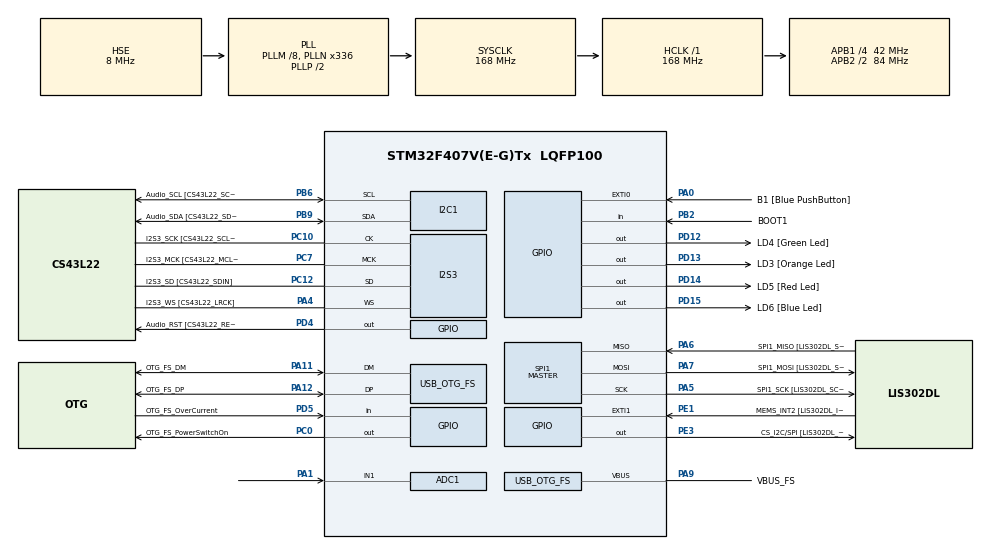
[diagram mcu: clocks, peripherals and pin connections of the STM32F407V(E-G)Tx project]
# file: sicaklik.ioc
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ADC1.Channel-0\#ChannelRegularConversion=ADC_CHANNEL_1
ADC1.ContinuousConvMode=ENABLE
ADC1.NbrOfConversionFlag=1
ADC1.Rank-0\#ChannelRegularConversion=1
ADC1.SamplingTime-0\#ChannelRegularConversion=ADC_SAMPLETIME_3CYCLES
ADC1.master=1
I2S3.AudioFreq-Half_Duplex_Master=I2S_AUDIOFREQ_96K
I2S3.ErrorAudioFreq=-2.34 %
I2S3.ErrorAudioFreq-Half_Duplex_Master=0.8 %
I2S3.FullDuplexMode=I2S_FULLDUPLEXMODE_DISABLE
I2S3.Instance=SPI$Index
I2S3.RealAudioFreq=93.75 KHz
I2S3.RealAudioFreq-Half_Duplex_Master=96.774 KHz
I2S3.VirtualMode=I2S_MODE_MASTER
Mcu.Family=STM32F4
Mcu.Name=STM32F407V(E-G)Tx
Mcu.Package=LQFP100
NVIC.ADC_IRQn=true\:0\:0\:false\:false\:true\:true\:true
NVIC.OTG_FS_IRQn=true\:0\:0\:false\:false\:true\:true\:true
NVIC.PriorityGroup=NVIC_PRIORITYGROUP_0
PA0-WKUP.GPIO_Label=B1 [Blue PushButton]
PA0-WKUP.GPIO_ModeDefaultEXTI=GPIO_MODE_EVT_RISING
PA0-WKUP.GPIO_PuPd=GPIO_NOPULL
PA0-WKUP.Signal=GPXTI0
PA1.Signal=ADCx_IN1
PA10.GPIO_Label=OTG_FS_ID
PA10.GPIO_Mode=GPIO_MODE_AF_PP
PA10.GPIO_PuPd=GPIO_NOPULL
PA10.GPIO_Speed=GPIO_SPEED_FREQ_LOW
PA10.Signal=USB_OTG_FS_ID
PA11.GPIO_Label=OTG_FS_DM
PA11.GPIO_Mode=GPIO_MODE_AF_PP
PA11.GPIO_PuPd=GPIO_NOPULL
PA11.GPIO_Speed=GPIO_SPEED_FREQ_LOW
PA11.Mode=Host_Only
PA11.Signal=USB_OTG_FS_DM
PA12.GPIO_Label=OTG_FS_DP
PA12.GPIO_Mode=GPIO_MODE_AF_PP
PA12.GPIO_PuPd=GPIO_NOPULL
PA12.GPIO_Speed=GPIO_SPEED_FREQ_LOW
PA12.Mode=Host_Only
PA12.Signal=USB_OTG_FS_DP
PA13.GPIO_Label=SWDIO
PA13.Mode=Serial_Wire
PA13.Signal=SYS_JTMS-SWDIO
PA14.GPIO_Label=SWCLK
PA14.Mode=Serial_Wire
PA14.Signal=SYS_JTCK-SWCLK
PA4.GPIO_Label=I2S3_WS [CS43L22_LRCK]
PA4.GPIO_Mode=GPIO_MODE_AF_PP
PA4.GPIO_PuPd=GPIO_NOPULL
PA4.GPIO_Speed=GPIO_SPEED_FREQ_LOW
PA4.Mode=Half_Duplex_Master
PA4.Signal=I2S3_WS
PA5.GPIO_Label=SPI1_SCK [LIS302DL_SCL/SPC]
PA5.GPIO_Mode=GPIO_MODE_AF_PP
PA5.GPIO_PuPd=GPIO_NOPULL
PA5.GPIO_Speed=GPIO_SPEED_FREQ_LOW
PA5.Mode=Full_Duplex_Master
PA5.Signal=SPI1_SCK
PA6.GPIO_Label=SPI1_MISO [LIS302DL_SDO]
PA6.GPIO_Mode=GPIO_MODE_AF_PP
PA6.GPIO_PuPd=GPIO_NOPULL
PA6.GPIO_Speed=GPIO_SPEED_FREQ_LOW
PA6.Mode=Full_Duplex_Master
PA6.Signal=SPI1_MISO
PA7.GPIO_Label=SPI1_MOSI [LIS302DL_SDA/SDI/SDO]
PA7.GPIO_Mode=GPIO_MODE_AF_PP
PA7.GPIO_PuPd=GPIO_NOPULL
PA7.GPIO_Speed=GPIO_SPEED_FREQ_LOW
PA7.Mode=Full_Duplex_Master
PA7.Signal=SPI1_MOSI
PA9.GPIO_Label=VBUS_FS
PA9.GPIO_Mode=GPIO_MODE_INPUT
PA9.GPIO_PuPd=GPIO_NOPULL
PA9.Mode=Activate_VBUS
PA9.Signal=USB_OTG_FS_VBUS
PB10.GPIO_Label=CLK_IN [MP45DT02_CLK]
PB10.GPIO_Mode=GPIO_MODE_AF_PP
PB10.GPIO_PuPd=GPIO_NOPULL
PB10.GPIO_Speed=GPIO_SPEED_FREQ_LOW
PB10.Signal=I2S2_CK
PB2.GPIO_Label=BOOT1
PB2.GPIO_Mode=GPIO_MODE_INPUT
PB2.GPIO_PuPd=GPIO_NOPULL
PB2.Signal=GPIO_Input
PB3.GPIO_Label=SWO
PB3.Signal=SYS_JTDO-SWO
PB6.GPIO_Label=Audio_SCL [CS43L22_SCL]
PB6.GPIO_Mode=GPIO_MODE_AF_OD
PB6.GPIO_PuPd=GPIO_NOPULL
PB6.GPIO_Speed=GPIO_SPEED_FREQ_LOW
PB6.Mode=I2C
PB6.Signal=I2C1_SCL
PB9.GPIO_Label=Audio_SDA [CS43L22_SDA]
PB9.GPIO_Mode=GPIO_MODE_AF_OD
PB9.GPIO_PuPd=GPIO_NOPULL
PB9.GPIO_Speed=GPIO_SPEED_FREQ_LOW
PB9.Mode=I2C
PB9.Signal=I2C1_SDA
PC0.GPIO_Label=OTG_FS_PowerSwitchOn
PC0.GPIO_PuPd=GPIO_NOPULL
PC0.GPIO_Speed=GPIO_SPEED_FREQ_LOW
PC0.PinState=GPIO_PIN_SET
PC0.Signal=GPIO_Output
PC10.GPIO_Label=I2S3_SCK [CS43L22_SCLK]
PC10.GPIO_Mode=GPIO_MODE_AF_PP
PC10.GPIO_PuPd=GPIO_NOPULL
PC10.GPIO_Speed=GPIO_SPEED_FREQ_LOW
PC10.Mode=Half_Duplex_Master
PC10.Signal=I2S3_CK
PC12.GPIO_Label=I2S3_SD [CS43L22_SDIN]
PC12.GPIO_Mode=GPIO_MODE_AF_PP
PC12.GPIO_PuPd=GPIO_NOPULL
PC12.GPIO_Speed=GPIO_SPEED_FREQ_LOW
PC12.Mode=Half_Duplex_Master
PC12.Signal=I2S3_SD
PC14-OSC32_IN.GPIO_Label=PC14-OSC32_IN
PC14-OSC32_IN.Mode=LSE-External-Oscillator
PC14-OSC32_IN.Signal=RCC_OSC32_IN
PC15-OSC32_OUT.GPIO_Label=PC15-OSC32_OUT
PC15-OSC32_OUT.Mode=LSE-External-Oscillator
PC15-OSC32_OUT.Signal=RCC_OSC32_OUT
PC3.GPIO_Label=PDM_OUT [MP45DT02_DOUT]
PC3.GPIO_Mode=GPIO_MODE_AF_PP
PC3.GPIO_PuPd=GPIO_NOPULL
PC3.GPIO_Speed=GPIO_SPEED_FREQ_LOW
PC3.Signal=I2S2_SD
PC7.GPIO_Label=I2S3_MCK [CS43L22_MCLK]
PC7.GPIO_Mode=GPIO_MODE_AF_PP
PC7.GPIO_PuPd=GPIO_NOPULL
PC7.GPIO_Speed=GPIO_SPEED_FREQ_LOW
PC7.Mode=Master_Clock_Activated
PC7.Signal=I2S3_MCK
PD12.GPIO_Label=LD4 [Green Led]
PD12.GPIO_PuPd=GPIO_NOPULL
PD12.GPIO_Speed=GPIO_SPEED_FREQ_LOW
PD12.Signal=GPIO_Output
PD13.GPIO_Label=LD3 [Orange Led]
PD13.GPIO_PuPd=GPIO_NOPULL
PD13.GPIO_Speed=GPIO_SPEED_FREQ_LOW
PD13.Signal=GPIO_Output
PD14.GPIO_Label=LD5 [Red Led]
PD14.GPIO_PuPd=GPIO_NOPULL
PD14.GPIO_Speed=GPIO_SPEED_FREQ_LOW
PD14.Signal=GPIO_Output
PD15.GPIO_Label=LD6 [Blue Led]
PD15.GPIO_PuPd=GPIO_NOPULL
PD15.GPIO_Speed=GPIO_SPEED_FREQ_LOW
PD15.Signal=GPIO_Output
PD4.GPIO_Label=Audio_RST [CS43L22_RESET]
PD4.GPIO_PuPd=GPIO_NOPULL
PD4.GPIO_Speed=GPIO_SPEED_FREQ_LOW
PD4.Signal=GPIO_Output
PD5.GPIO_Label=OTG_FS_OverCurrent
PD5.GPIO_Mode=GPIO_MODE_INPUT
PD5.GPIO_PuPd=GPIO_NOPULL
PD5.Signal=GPIO_Input
PE1.GPIO_Label=MEMS_INT2 [LIS302DL_INT2]
PE1.GPIO_ModeDefaultEXTI=GPIO_MODE_EVT_RISING
PE1.GPIO_PuPd=GPIO_NOPULL
PE1.Signal=GPXTI1
PE3.GPIO_Label=CS_I2C/SPI [LIS302DL_CS_I2C/SPI]
PE3.GPIO_PuPd=GPIO_NOPULL
PE3.GPIO_Speed=GPIO_SPEED_FREQ_LOW
PE3.Signal=GPIO_Output
PH0-OSC_IN.GPIO_Label=PH0-OSC_IN
PH0-OSC_IN.Mode=HSE-External-Oscillator
PH0-OSC_IN.Signal=RCC_OSC_IN
PH1-OSC_OUT.GPIO_Label=PH1-OSC_OUT
PH1-OSC_OUT.Mode=HSE-External-Oscillator
PH1-OSC_OUT.Signal=RCC_OSC_OUT
ProjectManager.HeapSize=0x200
ProjectManager.StackSize=0x400
ProjectManager.TargetToolchain=MDK-ARM V5
RCC.48MHZClocksFreq_Value=48000000
RCC.AHBFreq_Value=168000000
RCC.APB1CLKDivider=RCC_HCLK_DIV4
RCC.APB1Freq_Value=42000000
RCC.APB1TimFreq_Value=84000000
RCC.APB2CLKDivider=RCC_HCLK_DIV2
RCC.APB2Freq_Value=84000000
RCC.APB2TimFreq_Value=168000000
RCC.CortexFreq_Value=168000000
RCC.HCLKFreq_Value=168000000
RCC.HSE_VALUE=8000000
RCC.HSI_VALUE=16000000
RCC.PLLM=8
RCC.PLLN=336
RCC.PLLQ=7
RCC.SYSCLKFreq_VALUE=168000000
RCC.SYSCLKSource=RCC_SYSCLKSOURCE_PLLCLK
RCC.VCOOutputFreq_Value=336000000
SH.ADCx_IN1.0=ADC1_IN1,IN1
SPI1.BaudRatePrescaler-Full_Duplex_Master=SPI_BAUDRATEPRESCALER_2
SPI1.CalculateBaudRate-Full_Duplex_Master=42.0 MBits/s
SPI1.Direction=SPI_DIRECTION_2LINES
SPI1.Mode=SPI_MODE_MASTER
SPI1.Mode-Full_Duplex_Master=SPI_MODE_MASTER
SPI1.VirtualType=VM_MASTER
USB_HOST.BSP.number=1
USB_HOST.USBH_HandleTypeDef-CDC_FS=hUsbHostFS
USB_HOST.VirtualModeFS=Cdc
USB_HOST0.BSP.STBoard=false
USB_HOST0.BSP.api=Unknown
USB_HOST0.BSP.i2caddr=0
USB_HOST0.BSP.i2creg=0
USB_HOST0.BSP.instance=PC0
USB_HOST0.BSP.ip=GPIO
USB_HOST0.BSP.mode=Output
USB_HOST0.BSP.name=Drive_VBUS_FS
USB_HOST0.BSP.solution=PC0
USB_OTG_FS.VirtualMode=Host_Only
USB_OTG_FS.phy_itface=HCD_PHY_EMBEDDED
VP_USB_HOST_VS_USB_HOST_CDC_FS.Mode=CDC_FS
board=STM32F4DISCOVERY

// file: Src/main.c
/* USER CODE BEGIN Header */
/**
  ******************************************************************************
  * @file           : main.c
  * @brief          : Main program body
  ******************************************************************************
  * @attention
  *
  * <h2><center>&copy; Copyright (c) 2019 STMicroelectronics.
  * All rights reserved.</center></h2>
  *
  * This software component is licensed by ST under Ultimate Liberty license
  * SLA0044, the "License"; You may not use this file except in compliance with
  * the License. You may obtain a copy of the License at:
  *                             www.st.com/SLA0044
  *
  ******************************************************************************
  */
/* USER CODE END Header */

#include "main.h"
#include "usb_host.h"
#include "math.h"

ADC_HandleTypeDef hadc1;

I2C_HandleTypeDef hi2c1;

I2S_HandleTypeDef hi2s3;

SPI_HandleTypeDef hspi1;

/* USER CODE BEGIN PV */
 int ADCValue;
double temp;
/* USER CODE END PV */

void SystemClock_Config(void);
static void MX_GPIO_Init(void);
static void MX_ADC1_Init(void);
static void MX_I2C1_Init(void);
static void MX_I2S3_Init(void);
static void MX_SPI1_Init(void);
void MX_USB_HOST_Process(void);

/* USER CODE BEGIN PFP */
double Termistor(int analogValue){
   double temperature;
   temperature = log(((40950000 / analogValue) - 10000));
	 temperature = 1/ (0.001129148 + (0.000234125 +(0.0000000876741 * temperature * temperature)) * temperature);
	 temperature = temperature - 273.15;
	 return temperature;
}
/* USER CODE END PFP */

int main(void)
{

  /* MCU Configuration--------------------------------------------------------*/

  /* Reset of all peripherals, Initializes the Flash interface and the Systick. */
  HAL_Init();

  /* Configure the system clock */
  SystemClock_Config();

  /* Initialize all configured peripherals */
  MX_GPIO_Init();
  MX_ADC1_Init();
  MX_I2C1_Init();
  MX_I2S3_Init();
  MX_SPI1_Init();
  MX_USB_HOST_Init();
  /* USER CODE BEGIN 2 */
  HAL_ADC_Start(&hadc1);
  /* USER CODE END 2 */

  /* Infinite loop */
  /* USER CODE BEGIN WHILE */
  while (1)
  {
		ADCValue = HAL_ADC_GetValue(&hadc1);
		temp = (double)Termistor(ADCValue);
		HAL_Delay(500);
		if(temp>=27)
    {
			HAL_GPIO_WritePin(GPIOD,GPIO_PIN_15,GPIO_PIN_SET);
    }
		else if(temp<27)
		{
			HAL_GPIO_WritePin(GPIOD,GPIO_PIN_15,GPIO_PIN_RESET);
		}
    /* USER CODE END WHILE */
    MX_USB_HOST_Process();

  }
void SystemClock_Config(void)
{
  RCC_OscInitTypeDef RCC_OscInitStruct = {0};
  RCC_ClkInitTypeDef RCC_ClkInitStruct = {0};
  RCC_PeriphCLKInitTypeDef PeriphClkInitStruct = {0};

  /** Configure the main internal regulator output voltage
  */
  __HAL_RCC_PWR_CLK_ENABLE();
  __HAL_PWR_VOLTAGESCALING_CONFIG(PWR_REGULATOR_VOLTAGE_SCALE1);
  /** Initializes the CPU, AHB and APB busses clocks
  */
  RCC_OscInitStruct.OscillatorType = RCC_OSCILLATORTYPE_HSE;
  RCC_OscInitStruct.HSEState = RCC_HSE_ON;
  RCC_OscInitStruct.PLL.PLLState = RCC_PLL_ON;
  RCC_OscInitStruct.PLL.PLLSource = RCC_PLLSOURCE_HSE;
  RCC_OscInitStruct.PLL.PLLM = 8;
  RCC_OscInitStruct.PLL.PLLN = 336;
  RCC_OscInitStruct.PLL.PLLP = RCC_PLLP_DIV2;
  RCC_OscInitStruct.PLL.PLLQ = 7;
  if (HAL_RCC_OscConfig(&RCC_OscInitStruct) != HAL_OK)
  {
    Error_Handler();
  }
  /** Initializes the CPU, AHB and APB busses clocks
  */
  RCC_ClkInitStruct.ClockType = RCC_CLOCKTYPE_HCLK|RCC_CLOCKTYPE_SYSCLK
                              |RCC_CLOCKTYPE_PCLK1|RCC_CLOCKTYPE_PCLK2;
  RCC_ClkInitStruct.SYSCLKSource = RCC_SYSCLKSOURCE_PLLCLK;
  RCC_ClkInitStruct.AHBCLKDivider = RCC_SYSCLK_DIV1;
  RCC_ClkInitStruct.APB1CLKDivider = RCC_HCLK_DIV4;
  RCC_ClkInitStruct.APB2CLKDivider = RCC_HCLK_DIV2;

  if (HAL_RCC_ClockConfig(&RCC_ClkInitStruct, FLASH_LATENCY_5) != HAL_OK)
  {
    Error_Handler();
  }
  PeriphClkInitStruct.PeriphClockSelection = RCC_PERIPHCLK_I2S;
  PeriphClkInitStruct.PLLI2S.PLLI2SN = 192;
  PeriphClkInitStruct.PLLI2S.PLLI2SR = 2;
  if (HAL_RCCEx_PeriphCLKConfig(&PeriphClkInitStruct) != HAL_OK)
  {
    Error_Handler();
  }
}
static void MX_ADC1_Init(void)
{

__HAL_RCC_ADC1_CLK_ENABLE();
  ADC_ChannelConfTypeDef sConfig = {0};

  /** Configure the global features of the ADC (Clock, Resolution, Data Alignment and number of conversion)
  */
  hadc1.Instance = ADC1;
  hadc1.Init.ClockPrescaler = ADC_CLOCK_SYNC_PCLK_DIV4;
  hadc1.Init.Resolution = ADC_RESOLUTION_12B;
  hadc1.Init.ScanConvMode = DISABLE;
  hadc1.Init.ContinuousConvMode = ENABLE;
  hadc1.Init.DiscontinuousConvMode = DISABLE;
  hadc1.Init.ExternalTrigConvEdge = ADC_EXTERNALTRIGCONVEDGE_NONE;
  hadc1.Init.ExternalTrigConv = ADC_SOFTWARE_START;
  hadc1.Init.DataAlign = ADC_DATAALIGN_RIGHT;
  hadc1.Init.NbrOfConversion = 1;
  hadc1.Init.DMAContinuousRequests = DISABLE;
  hadc1.Init.EOCSelection = ADC_EOC_SEQ_CONV;
  if (HAL_ADC_Init(&hadc1) != HAL_OK)
  {
    Error_Handler();
  }
  /** Configure for the selected ADC regular channel its corresponding rank in the sequencer and its sample time.
  */
  sConfig.Channel = ADC_CHANNEL_1;
  sConfig.Rank = 1;
  sConfig.SamplingTime = ADC_SAMPLETIME_3CYCLES;
  if (HAL_ADC_ConfigChannel(&hadc1, &sConfig) != HAL_OK)
  {
    Error_Handler();
  }

}

static void MX_I2C1_Init(void)
{

  hi2c1.Instance = I2C1;
  hi2c1.Init.ClockSpeed = 100000;
  hi2c1.Init.DutyCycle = I2C_DUTYCYCLE_2;
  hi2c1.Init.OwnAddress1 = 0;
  hi2c1.Init.AddressingMode = I2C_ADDRESSINGMODE_7BIT;
  hi2c1.Init.DualAddressMode = I2C_DUALADDRESS_DISABLE;
  hi2c1.Init.OwnAddress2 = 0;
  hi2c1.Init.GeneralCallMode = I2C_GENERALCALL_DISABLE;
  hi2c1.Init.NoStretchMode = I2C_NOSTRETCH_DISABLE;
  if (HAL_I2C_Init(&hi2c1) != HAL_OK)
  {
    Error_Handler();
  }

}
static void MX_I2S3_Init(void)
{

  hi2s3.Instance = SPI3;
  hi2s3.Init.Mode = I2S_MODE_MASTER_TX;
  hi2s3.Init.Standard = I2S_STANDARD_PHILIPS;
  hi2s3.Init.DataFormat = I2S_DATAFORMAT_16B;
  hi2s3.Init.MCLKOutput = I2S_MCLKOUTPUT_ENABLE;
  hi2s3.Init.AudioFreq = I2S_AUDIOFREQ_96K;
  hi2s3.Init.CPOL = I2S_CPOL_LOW;
  hi2s3.Init.ClockSource = I2S_CLOCK_PLL;
  hi2s3.Init.FullDuplexMode = I2S_FULLDUPLEXMODE_DISABLE;
  if (HAL_I2S_Init(&hi2s3) != HAL_OK)
  {
    Error_Handler();
  }
}
static void MX_SPI1_Init(void)
{

  /* SPI1 parameter configuration*/
  hspi1.Instance = SPI1;
  hspi1.Init.Mode = SPI_MODE_MASTER;
  hspi1.Init.Direction = SPI_DIRECTION_2LINES;
  hspi1.Init.DataSize = SPI_DATASIZE_8BIT;
  hspi1.Init.CLKPolarity = SPI_POLARITY_LOW;
  hspi1.Init.CLKPhase = SPI_PHASE_1EDGE;
  hspi1.Init.NSS = SPI_NSS_SOFT;
  hspi1.Init.BaudRatePrescaler = SPI_BAUDRATEPRESCALER_2;
  hspi1.Init.FirstBit = SPI_FIRSTBIT_MSB;
  hspi1.Init.TIMode = SPI_TIMODE_DISABLE;
  hspi1.Init.CRCCalculation = SPI_CRCCALCULATION_DISABLE;
  hspi1.Init.CRCPolynomial = 10;
  if (HAL_SPI_Init(&hspi1) != HAL_OK)
  {
    Error_Handler();
  }

}

static void MX_GPIO_Init(void)
{
  GPIO_InitTypeDef GPIO_InitStruct = {0};

  /* GPIO Ports Clock Enable */
  __HAL_RCC_GPIOE_CLK_ENABLE();
  __HAL_RCC_GPIOC_CLK_ENABLE();
  __HAL_RCC_GPIOH_CLK_ENABLE();
  __HAL_RCC_GPIOA_CLK_ENABLE();
  __HAL_RCC_GPIOB_CLK_ENABLE();
  __HAL_RCC_GPIOD_CLK_ENABLE();

  /*Configure GPIO pin Output Level */
  HAL_GPIO_WritePin(CS_I2C_SPI_GPIO_Port, CS_I2C_SPI_Pin, GPIO_PIN_RESET);

  /*Configure GPIO pin Output Level */
  HAL_GPIO_WritePin(OTG_FS_PowerSwitchOn_GPIO_Port, OTG_FS_PowerSwitchOn_Pin, GPIO_PIN_SET);

  /*Configure GPIO pin Output Level */
  HAL_GPIO_WritePin(GPIOD, LD4_Pin|LD3_Pin|LD5_Pin|LD6_Pin
                          |Audio_RST_Pin, GPIO_PIN_RESET);

  /*Configure GPIO pin : CS_I2C_SPI_Pin */
  GPIO_InitStruct.Pin = CS_I2C_SPI_Pin;
  GPIO_InitStruct.Mode = GPIO_MODE_OUTPUT_PP;
  GPIO_InitStruct.Pull = GPIO_NOPULL;
  GPIO_InitStruct.Speed = GPIO_SPEED_FREQ_LOW;
  HAL_GPIO_Init(CS_I2C_SPI_GPIO_Port, &GPIO_InitStruct);

  /*Configure GPIO pin : OTG_FS_PowerSwitchOn_Pin */
  GPIO_InitStruct.Pin = OTG_FS_PowerSwitchOn_Pin;
  GPIO_InitStruct.Mode = GPIO_MODE_OUTPUT_PP;
  GPIO_InitStruct.Pull = GPIO_NOPULL;
  GPIO_InitStruct.Speed = GPIO_SPEED_FREQ_LOW;
  HAL_GPIO_Init(OTG_FS_PowerSwitchOn_GPIO_Port, &GPIO_InitStruct);

  /*Configure GPIO pin : PDM_OUT_Pin */
  GPIO_InitStruct.Pin = PDM_OUT_Pin;
  GPIO_InitStruct.Mode = GPIO_MODE_AF_PP;
  GPIO_InitStruct.Pull = GPIO_NOPULL;
  GPIO_InitStruct.Speed = GPIO_SPEED_FREQ_LOW;
  GPIO_InitStruct.Alternate = GPIO_AF5_SPI2;
  HAL_GPIO_Init(PDM_OUT_GPIO_Port, &GPIO_InitStruct);

  /*Configure GPIO pin : B1_Pin */
  GPIO_InitStruct.Pin = B1_Pin;
  GPIO_InitStruct.Mode = GPIO_MODE_EVT_RISING;
  GPIO_InitStruct.Pull = GPIO_NOPULL;
  HAL_GPIO_Init(B1_GPIO_Port, &GPIO_InitStruct);

  /*Configure GPIO pin : BOOT1_Pin */
  GPIO_InitStruct.Pin = BOOT1_Pin;
  GPIO_InitStruct.Mode = GPIO_MODE_INPUT;
  GPIO_InitStruct.Pull = GPIO_NOPULL;
  HAL_GPIO_Init(BOOT1_GPIO_Port, &GPIO_InitStruct);

  /*Configure GPIO pin : CLK_IN_Pin */
  GPIO_InitStruct.Pin = CLK_IN_Pin;
  GPIO_InitStruct.Mode = GPIO_MODE_AF_PP;
  GPIO_InitStruct.Pull = GPIO_NOPULL;
  GPIO_InitStruct.Speed = GPIO_SPEED_FREQ_LOW;
  GPIO_InitStruct.Alternate = GPIO_AF5_SPI2;
  HAL_GPIO_Init(CLK_IN_GPIO_Port, &GPIO_InitStruct);

  /*Configure GPIO pins : LD4_Pin LD3_Pin LD5_Pin LD6_Pin
                           Audio_RST_Pin */
  GPIO_InitStruct.Pin = LD4_Pin|LD3_Pin|LD5_Pin|LD6_Pin
                          |Audio_RST_Pin;
  GPIO_InitStruct.Mode = GPIO_MODE_OUTPUT_PP;
  GPIO_InitStruct.Pull = GPIO_NOPULL;
  GPIO_InitStruct.Speed = GPIO_SPEED_FREQ_LOW;
  HAL_GPIO_Init(GPIOD, &GPIO_InitStruct);

  /*Configure GPIO pin : OTG_FS_OverCurrent_Pin */
  GPIO_InitStruct.Pin = OTG_FS_OverCurrent_Pin;
  GPIO_InitStruct.Mode = GPIO_MODE_INPUT;
  GPIO_InitStruct.Pull = GPIO_NOPULL;
  HAL_GPIO_Init(OTG_FS_OverCurrent_GPIO_Port, &GPIO_InitStruct);

  /*Configure GPIO pin : MEMS_INT2_Pin */
  GPIO_InitStruct.Pin = MEMS_INT2_Pin;
  GPIO_InitStruct.Mode = GPIO_MODE_EVT_RISING;
  GPIO_InitStruct.Pull = GPIO_NOPULL;
  HAL_GPIO_Init(MEMS_INT2_GPIO_Port, &GPIO_InitStruct);

}

void Error_Handler(void)
{
}

/************************ (C) COPYRIGHT STMicroelectronics *****END OF FILE****/
